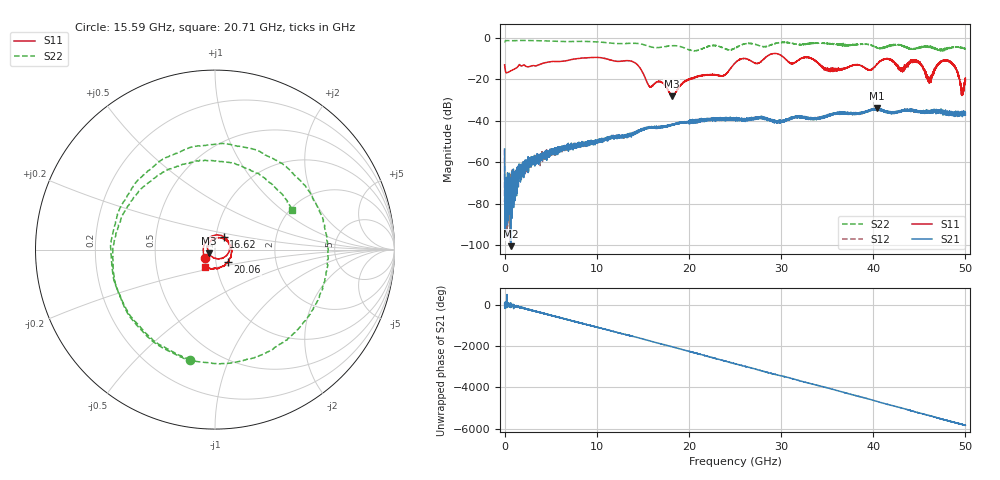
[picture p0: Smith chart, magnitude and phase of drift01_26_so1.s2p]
!Created with skrf (http://scikit-rf.org).
# Hz S RI R 50.0
!freq ReS11 ImS11 ReS21 ImS21 ReS12 ImS12 ReS22 ImS22
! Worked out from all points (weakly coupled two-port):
!   10001 points, 300 kHz to 50 GHz, reference 50 ohm
!   highest |S21| = -33.93 dB at 40.39 GHz (marker M1); lowest = -100.4 dB at 660.3 MHz (marker M2)
!   lowest |S11| = -28.3 dB at 18.16 GHz (marker M3), VSWR 1.08, Z = 46.8 - j1.98 ohm
!   |S11| at or under -10 dB: start of sweep to 8.053 GHz; 10.89 GHz to 26 GHz (15.11 GHz wide, 81.9 % of centre); 33.3 GHz to end of sweep (the widest 3 of 11)
!   |S22| runs from -6.6 to -1.4 dB; largest |S21 - S12| = 0.0036
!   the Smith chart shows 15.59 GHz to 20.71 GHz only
!   S11 on the Smith chart (normalised r, x): 15.59 GHz: 0.89, -0.09; 16.62 GHz: 1.09, +0.16; 20.06 GHz: 1.14, -0.16; 20.71 GHz: 0.88, -0.18
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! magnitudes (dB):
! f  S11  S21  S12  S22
! 300 kHz  -13.1  -53.7  -54.0  -2.1
! 255.3 MHz  -16.9  -75.9  -95.6  -1.4
! 660.3 MHz  -16.0  -100.4  -83.6  -1.5
! 2.85 GHz  -13.7  -58.6  -59.9  -1.4
! 8.335 GHz  -9.9  -51.5  -50.9  -1.8
! 13.88 GHz  -11.5  -46.4  -46.3  -2.7
! 15.59 GHz  -22.7  -43.5  -43.1  -4.0
! 16.62 GHz  -21.3  -42.9  -43.1  -4.8
! 16.67 GHz  -21.1  -43.1  -43.4  -4.8
! 18.16 GHz  -28.3  -42.2  -41.9  -3.9
! 20.06 GHz  -20.0  -41.0  -40.7  -5.9
! 20.71 GHz  -18.9  -40.1  -40.4  -6.3
! 25 GHz  -12.2  -39.0  -39.2  -5.1
! 33.34 GHz  -10.1  -39.1  -38.9  -2.7
! 35.13 GHz  -15.8  -37.5  -37.5  -2.8
! 40.39 GHz  -12.8  -33.9  -34.3  -4.8
! 41.67 GHz  -10.3  -35.6  -36.4  -4.3
! 44.81 GHz  -11.3  -35.3  -35.7  -4.9
! 46.1 GHz  -21.9  -35.9  -35.5  -4.3
! 48.07 GHz  -11.1  -35.7  -36.6  -4.8
! 49.63 GHz  -26.4  -36.0  -36.5  -4.8
! 50 GHz  -20.9  -37.3  -36.3  -5.3
